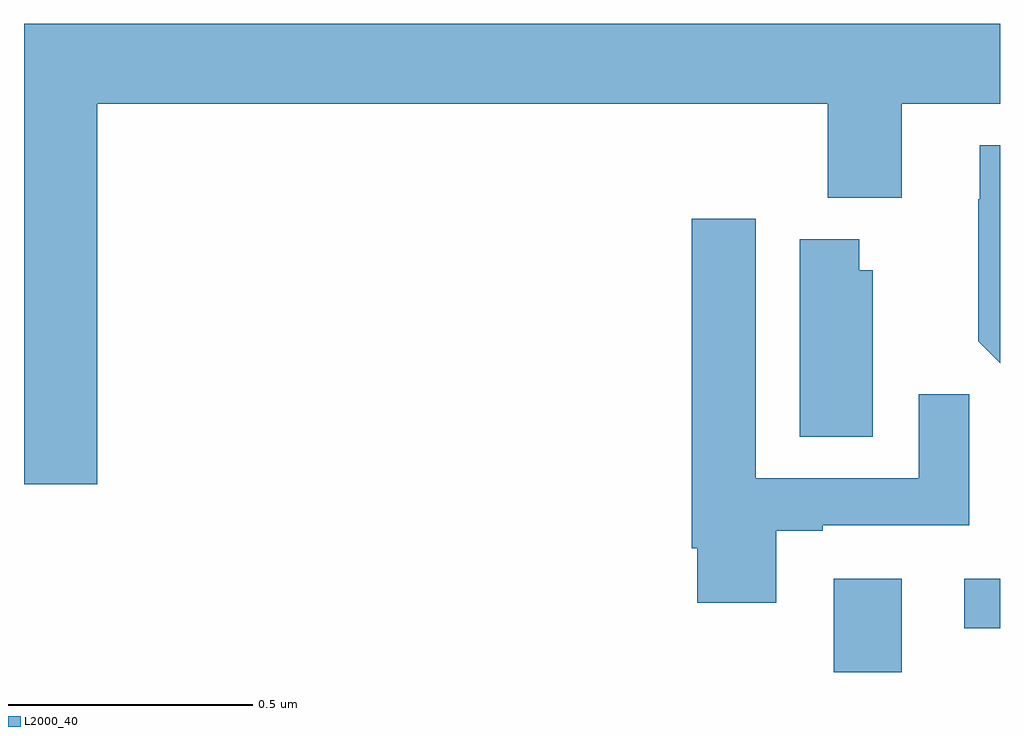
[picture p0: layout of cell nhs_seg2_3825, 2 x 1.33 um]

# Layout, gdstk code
import gdstk
lib = gdstk.Library(unit=1e-6, precision=1e-09)
def R(c, l, rs):  # rectangles x0, y0, x1, y1
    for r in rs: c.add(gdstk.rectangle(r[:2], r[2:], *l))
def P(c, l, *ps):  # polygons
    for p in ps: c.add(gdstk.Polygon(p, *l))
L2000_40 = (2000, 40)

nhs_seg2_3825 = lib.new_cell('nhs_seg2_3825')
R(nhs_seg2_3825, L2000_40, [(159.659,651.8,159.799,651.991), (159.927,651.89,160,651.991)])
P(nhs_seg2_3825, L2000_40, [(158.15,652.964),(159.647,652.964),(159.647,652.772),(159.799,652.772),(159.799,652.964),(160,652.964),(160,653.128),(158,653.128),(158,652.185),(158.15,652.185)],
  [(160,652.879),(159.959,652.879),(159.959,652.769),(159.955,652.769),(159.955,652.478),(160,652.433)],
  [(159.541,652.089),(159.637,652.089),(159.637,652.101),(159.937,652.101),(159.937,652.369),(159.833,652.369),(159.833,652.197),(159.499,652.197),(159.499,652.729),(159.368,652.729),(159.368,652.054),(159.38,652.054),(159.38,651.942),(159.541,651.942)],
  [(159.739,652.623),(159.712,652.623),(159.712,652.687),(159.59,652.687),(159.59,652.282),(159.739,652.282)])

lib.write_gds('nhs_seg2_3825.gds')
